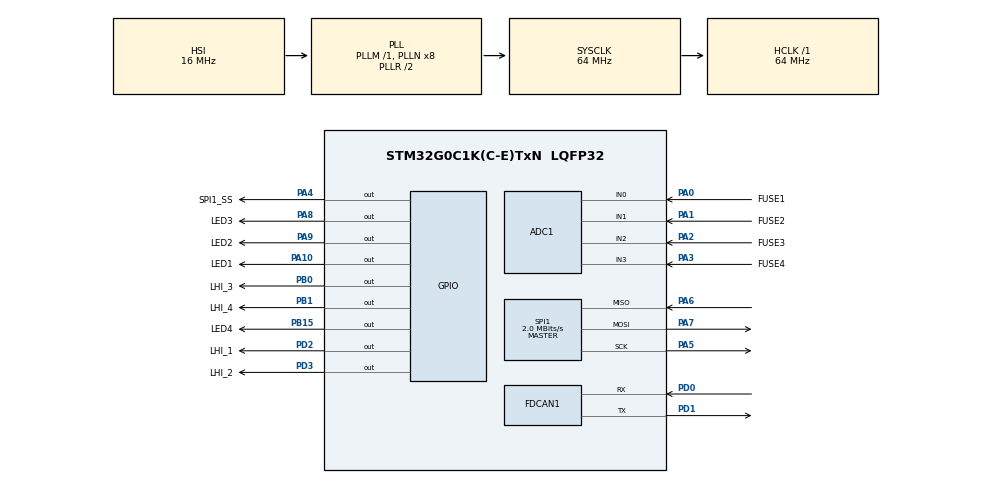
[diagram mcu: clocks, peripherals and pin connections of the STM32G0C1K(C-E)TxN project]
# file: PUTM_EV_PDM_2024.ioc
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ADC1.Channel-0\#ChannelRegularConversion=ADC_CHANNEL_0
ADC1.Channel-1\#ChannelRegularConversion=ADC_CHANNEL_1
ADC1.Channel-2\#ChannelRegularConversion=ADC_CHANNEL_2
ADC1.Channel-3\#ChannelRegularConversion=ADC_CHANNEL_3
ADC1.ClockPrescaler=ADC_CLOCK_ASYNC_DIV8
ADC1.ContinuousConvMode=ENABLE
ADC1.DMAContinuousRequests=ENABLE
ADC1.NbrOfConversion=4
ADC1.NbrOfConversionFlag=1
ADC1.Rank-0\#ChannelRegularConversion=1
ADC1.Rank-1\#ChannelRegularConversion=2
ADC1.Rank-2\#ChannelRegularConversion=3
ADC1.Rank-3\#ChannelRegularConversion=4
ADC1.SamplingTime-0\#ChannelRegularConversion=ADC_SAMPLINGTIME_COMMON_1
ADC1.SamplingTime-1\#ChannelRegularConversion=ADC_SAMPLINGTIME_COMMON_1
ADC1.SamplingTime-2\#ChannelRegularConversion=ADC_SAMPLINGTIME_COMMON_1
ADC1.SamplingTime-3\#ChannelRegularConversion=ADC_SAMPLINGTIME_COMMON_1
ADC1.SamplingTimeCommon1=ADC_SAMPLETIME_79CYCLES_5
ADC1.SamplingTimeCommon2=ADC_SAMPLETIME_19CYCLES_5
ADC1.SelectedChannel=ADC_CHANNEL_0|ADC_CHANNEL_1|ADC_CHANNEL_2|ADC_CHANNEL_3
ADC1.master=1
Dma.ADC1.0.Direction=DMA_PERIPH_TO_MEMORY
Dma.ADC1.0.EventEnable=DISABLE
Dma.ADC1.0.Instance=DMA1_Channel1
Dma.ADC1.0.MemDataAlignment=DMA_MDATAALIGN_HALFWORD
Dma.ADC1.0.MemInc=DMA_MINC_ENABLE
Dma.ADC1.0.Mode=DMA_CIRCULAR
Dma.ADC1.0.PeriphDataAlignment=DMA_PDATAALIGN_HALFWORD
Dma.ADC1.0.PeriphInc=DMA_PINC_DISABLE
Dma.ADC1.0.Polarity=HAL_DMAMUX_REQ_GEN_RISING
Dma.ADC1.0.Priority=DMA_PRIORITY_LOW
Dma.ADC1.0.RequestNumber=1
Dma.ADC1.0.SignalID=NONE
Dma.ADC1.0.SyncEnable=DISABLE
Dma.ADC1.0.SyncPolarity=HAL_DMAMUX_SYNC_NO_EVENT
Dma.ADC1.0.SyncRequestNumber=1
Dma.ADC1.0.SyncSignalID=NONE
Dma.Request0=ADC1
FDCAN1.CalculateBaudRateNominal=1142857
FDCAN1.CalculateTimeBitNominal=875
FDCAN1.CalculateTimeQuantumNominal=125.0
FDCAN1.NominalPrescaler=8
FDCAN1.NominalTimeSeg1=5
Mcu.Family=STM32G0
Mcu.Name=STM32G0C1K(C-E)TxN
Mcu.Package=LQFP32
NVIC.DMA1_Channel1_IRQn=true\:0\:0\:false\:false\:true\:false\:true\:true
NVIC.TIM16_FDCAN_IT0_IRQn=true\:0\:0\:false\:false\:true\:true\:true\:true
NVIC.TIM17_FDCAN_IT1_IRQn=true\:0\:0\:false\:false\:true\:true\:true\:true
NVIC.TIM1_BRK_UP_TRG_COM_IRQn=true\:3\:0\:false\:false\:true\:false\:true\:true
NVIC.TimeBase=TIM1_BRK_UP_TRG_COM_IRQn
NVIC.TimeBaseIP=TIM1
PA0.GPIO_Label=FUSE1
PA0.Mode=IN0
PA0.Signal=ADC1_IN0
PA1.GPIO_Label=FUSE2
PA1.Mode=IN1
PA1.Signal=ADC1_IN1
PA10.GPIO_Label=LED1
PA10.Signal=GPIO_Output
PA13.Mode=Serial_Wire
PA13.Signal=SYS_SWDIO
PA14-BOOT0.Mode=Serial_Wire
PA14-BOOT0.Signal=SYS_SWCLK
PA2.GPIO_Label=FUSE3
PA2.Mode=IN2
PA2.Signal=ADC1_IN2
PA3.GPIO_Label=FUSE4
PA3.Mode=IN3
PA3.Signal=ADC1_IN3
PA4.GPIO_Label=SPI1_SS
PA4.Signal=GPIO_Output
PA5.Mode=Full_Duplex_Master
PA5.Signal=SPI1_SCK
PA6.Mode=Full_Duplex_Master
PA6.Signal=SPI1_MISO
PA7.Mode=Full_Duplex_Master
PA7.Signal=SPI1_MOSI
PA8.GPIO_Label=LED3
PA8.Signal=GPIO_Output
PA9.GPIO_Label=LED2
PA9.Signal=GPIO_Output
PB0.GPIO_Label=LHI_3
PB0.Signal=GPIO_Output
PB1.GPIO_Label=LHI_4
PB1.Signal=GPIO_Output
PB15.GPIO_Label=LED4
PB15.Signal=GPIO_Output
PB6.Signal=USART1_TX
PB7.Signal=USART1_RX
PD0.GPIO_Speed=GPIO_SPEED_FREQ_VERY_HIGH
PD0.Mode=FDCAN_Activate
PD0.PinState=GPIO_PIN_RESET
PD0.Signal=FDCAN1_RX
PD1.GPIO_Speed=GPIO_SPEED_FREQ_VERY_HIGH
PD1.Mode=FDCAN_Activate
PD1.Signal=FDCAN1_TX
PD2.GPIO_Label=LHI_1
PD2.Signal=GPIO_Output
PD3.GPIO_Label=LHI_2
PD3.Signal=GPIO_Output
ProjectManager.HeapSize=0x200
ProjectManager.StackSize=0x400
ProjectManager.TargetToolchain=STM32CubeIDE
RCC.ADCFreq_Value=64000000
RCC.AHBFreq_Value=64000000
RCC.CortexFreq_Value=64000000
RCC.EXTERNAL_CLOCK_VALUE=48000
RCC.HCLKFreq_Value=64000000
RCC.HSE_VALUE=8000000
RCC.HSI48_VALUE=48000000
RCC.HSI_VALUE=16000000
RCC.LSE_VALUE=32768
RCC.SYSCLKFreq_VALUE=64000000
RCC.SYSCLKSource=RCC_SYSCLKSOURCE_PLLCLK
RCC.USBFreq_Value=48000000
RCC.VCOOutputFreq_Value=128000000
SPI1.BaudRatePrescaler=SPI_BAUDRATEPRESCALER_32
SPI1.CLKPhase=SPI_PHASE_2EDGE
SPI1.CalculateBaudRate=2.0 MBits/s
SPI1.Direction=SPI_DIRECTION_2LINES
SPI1.Mode=SPI_MODE_MASTER
SPI1.VirtualType=VM_MASTER
VP_SYS_VS_DBSignals.Mode=DisableDeadBatterySignals
VP_SYS_VS_tim1.Mode=TIM1
board=custom

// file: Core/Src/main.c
/* USER CODE BEGIN Header */
/**
  ******************************************************************************
  * @file           : main.c
  * @brief          : Main program body
  ******************************************************************************
  * @attention
  *
  * Copyright (c) 2024 STMicroelectronics.
  * All rights reserved.
  *
  * This software is licensed under terms that can be found in the LICENSE file
  * in the root directory of this software component.
  * If no LICENSE file comes with this software, it is provided AS-IS.
  *
  ******************************************************************************
  */

//*
//fuse4
//fuse3
//fuse2
//fuse1

/* USER CODE END Header */
#include "main.h"
#include "adc.h"
#include "dma.h"
#include "fdcan.h"
#include "spi.h"
#include "gpio.h"

/* USER CODE BEGIN Includes */
#include <stdbool.h>

/*
 * LED DEBUGGING SYSTEM FOR 4 BTS72220 CONTROLLERS (16 CHANNELS)
 *
 * NORMAL OPERATION:
 * - All LEDs blink at 1 Hz → System OK
 *
 * SINGLE CHANNEL FAILURE (1 ERROR ON A CONTROLLER):
 * - The LED of the faulty controller blinks in a specific pattern:
 *   - 1 blink → Channel 0 failure
 *   - 2 blinks → Channel 1 failure
 *   - 3 blinks → Channel 2 failure
 *   - 4 blinks → Channel 3 failure
 * - This pattern repeats continuously with a short pause.
 *
 * MULTIPLE CHANNEL FAILURES ON ONE CONTROLLER:
 * - The corresponding LED blinks rapidly at 5 Hz.
 *
 * MULTIPLE CONTROLLERS FAILING:
 * - Each affected controller's LED blinks rapidly at 5 Hz.
 *
 * CRITICAL FAILURE (ALL CONTROLLERS FAILING):
 * - All 4 LEDs stay solid ON.
 *
 * SYSTEM IN STANDBY/RESET:
 * - All LEDs stay OFF.
 *
 * HOW TO INTERPRET THE LEDS:
 * - Example: If LED2 blinks 3 times, pauses, then repeats → Controller 2, Channel 2 failure.
 * - Example: If LED4 blinks fast (5 Hz) → Controller 4 has multiple channel failures.
 * - Example: If all LEDs are ON → System critical failure.
 */

/* USER CODE END Includes */

/* USER CODE BEGIN PD */
#define ADC_BUF_SIZE 4
#define __VREFANALOG_VOLTAGE__ 3300
#define OUT_READY 0x8F // 1000 1111		switching to ready mode
#define OUT_READY1 0x9F // 1001 1111
#define OUT_CLOSE 0x80 // 1000 0000
#define DCR_ACTIVE 0xF5 // 1111 0101	switching to active mode
#define DCR_SLEEP 0xFF // 1111 1111
#define DCR_CHANNEL0 0xF8 // 1111 1000
#define DCR_CHANNEL1 0xF9 // 1111 1001
#define DCR_CHANNEL2 0xFA // 1111 1010
#define DCR_CHANNEL3 0xFB // 1111 1011
// Diagnosis Registers - Read Commands
#define WRNDIAG 0x01// 0000 0001
#define STDDIAG 0x02// 0000 0010
#define ERRDIAG 0x03// 0000 0011
// Configuration Registers - Read Commands
#define OUT_READ 0x00 // 0000 0000
#define RCS_READ 0x08 // 0000 1000
#define SRC_READ 0x09 // 0000 1001
#define OCR_READ 0x04 // 0000 0100
#define RCD_READ 0x0A // 0000 1100
#define KRC_READ 0x05 // 0000 0101
#define PCS_READ 0x0B // 0000 1101
#define HWCR_READ 0x05 // 0000 0110
#define ICS_READ 0x0B // 0000 1110
#define DCR_READ 0x07 // 0000 0111
//Led initialization
#define LED1_GPIO_Port GPIOA
#define LED1_Pin GPIO_PIN_10
#define LED2_GPIO_Port GPIOA
#define LED2_Pin GPIO_PIN_9
#define LED3_GPIO_Port GPIOA
#define LED3_Pin GPIO_PIN_8
#define LED4_GPIO_Port GPIOB
#define LED4_Pin GPIO_PIN_15

#define MAX_RETRIES 2

#define CLOSE_CHANNEL_0 0x8E//1000 1110
#define CLOSE_CHANNEL_1 0x8D//1000 1101
#define CLOSE_CHANNEL_2 0x8B//1000 1011
#define CLOSE_CHANNEL_3 0x87//1000 0111

/* USER CODE END PD */

/* USER CODE BEGIN PV */

uint16_t adc_buffer[ADC_BUF_SIZE];
uint8_t adc_ready = 0;

uint8_t tx_buffer[5];
uint8_t rx_buffer[5];

uint8_t after_first_loop = 0;
/*
uint32_t fuse1_is_channel0=0;
uint32_t fuse2_is_channel0;
uint32_t fuse3_is_channel0;
uint32_t fuse4_is_channel0;

uint32_t fuse1_is_channel1;
uint32_t fuse2_is_channel1;
uint32_t fuse3_is_channel1;
uint32_t fuse4_is_channel1;

uint32_t fuse1_is_channel2;
uint32_t fuse2_is_channel2;
uint32_t fuse3_is_channel2;
uint32_t fuse4_is_channel2;

uint32_t fuse1_is_channel3;
uint32_t fuse2_is_channel3;
uint32_t fuse3_is_channel3;
uint32_t fuse4_is_channel3;
*/
#define IC_COUNT 4
#define CHANNEL_COUNT 4

uint32_t fuse_currents[IC_COUNT][CHANNEL_COUNT]; // fuse_currents[ic][channel]

uint8_t channel_states[IC_COUNT] = {0x0F, 0x0F, 0x0F, 0x0F}; // All channels ON
bool any_channel_closed = false;
uint32_t last_shutdown_time = 0;

uint32_t thresholds[IC_COUNT][CHANNEL_COUNT] = {
    {200, 200, 300, 500},  // IC0 thresholds
    {200, 200, 300, 500},  // IC1
    {200, 200, 300, 500},  // IC2
    {200, 200, 300, 500}   // IC3
};
/* USER CODE END PV */

void SystemClock_Config(void);

/* USER CODE BEGIN 0 */

/*
void activate_channel(uint8_t ic_index, uint8_t channel_cmd)
{
    for (int i = 0; i < 5; i++) tx_buffer_local[i] = DCR_ACTIVE;
    if (ic_index < 5) tx_buffer_local[ic_index] = channel_cmd;

    HAL_GPIO_WritePin(SPI1_SS_GPIO_Port, SPI1_SS_Pin, GPIO_PIN_RESET);
    HAL_SPI_TransmitReceive(&hspi1, tx_buffer_local, rx_buffer, 5, 100);
    HAL_GPIO_WritePin(SPI1_SS_GPIO_Port, SPI1_SS_Pin, GPIO_PIN_SET);

    // Activate outputs
    for (int i = 0; i < 5; i++) tx_buffer_local[i] = DCR_ACTIVE;
    HAL_GPIO_WritePin(SPI1_SS_GPIO_Port, SPI1_SS_Pin, GPIO_PIN_RESET);
    HAL_SPI_TransmitReceive(&hspi1, tx_buffer_local, rx_buffer, 5, 100);
    HAL_GPIO_WritePin(SPI1_SS_GPIO_Port, SPI1_SS_Pin, GPIO_PIN_SET);
}
*/
int get_tx_index(uint8_t ic_index)
{
    return 1 + ic_index;
}

void handle_overcurrent(uint8_t ic_index, uint8_t channel_number, uint32_t threshold)
{
    if (fuse_currents[ic_index][channel_number] > threshold && after_first_loop)
    {
    	 int tx_index = get_tx_index(ic_index);

    	        //Mark channel OFF in state
    	        channel_states[ic_index] &= ~(1 << channel_number);
    	        //track the time since the first channel is closed
    	        any_channel_closed = true;
    	        last_shutdown_time = HAL_GetTick();
    	        //Build OUT register byte from updated state
    	        for (int i = 0; i < 5; i++) tx_buffer[i] = DCR_ACTIVE;
    	        tx_buffer[tx_index] = 0x80 | (channel_states[ic_index] & 0x0F); // OUT command

    	        HAL_GPIO_WritePin(SPI1_SS_GPIO_Port, SPI1_SS_Pin, GPIO_PIN_RESET);
    	        HAL_SPI_TransmitReceive(&hspi1, tx_buffer, rx_buffer, 5, 100);
    	        HAL_GPIO_WritePin(SPI1_SS_GPIO_Port, SPI1_SS_Pin, GPIO_PIN_SET);

/*
        // Step 2: recheck current (read correct ADC index)
        uint8_t adc_index = 3 - ic_index;
        fuse_currents[ic_index][channel_number] = __HAL_ADC_CALC_DATA_TO_VOLTAGE(
            __VREFANALOG_VOLTAGE__, adc_buffer[adc_index], ADC_RESOLUTION12b);

        if (fuse_currents[ic_index][channel_number] <= threshold)
        {
            for (int i = 0; i < 5; i++) tx_buffer[i] = OUT_READY;
            HAL_GPIO_WritePin(SPI1_SS_GPIO_Port, SPI1_SS_Pin, GPIO_PIN_RESET);
            HAL_SPI_TransmitReceive(&hspi1, tx_buffer, rx_buffer, 5, 100);
            HAL_GPIO_WritePin(SPI1_SS_GPIO_Port, SPI1_SS_Pin, GPIO_PIN_SET);
           // HAL_Delay(100);

            for (int i = 0; i < 5; i++) tx_buffer[i] = DCR_ACTIVE;
            HAL_GPIO_WritePin(SPI1_SS_GPIO_Port, SPI1_SS_Pin, GPIO_PIN_RESET);
            HAL_SPI_TransmitReceive(&hspi1, tx_buffer, rx_buffer, 5, 100);
            HAL_GPIO_WritePin(SPI1_SS_GPIO_Port, SPI1_SS_Pin, GPIO_PIN_SET);
        }
        */
    }
}

/* USER CODE END 0 */

int main(void)
{

  /* MCU Configuration--------------------------------------------------------*/

  /* Reset of all peripherals, Initializes the Flash interface and the Systick. */
	  HAL_Init();

  /* Configure the system clock */
  SystemClock_Config();

  /* Initialize all configured peripherals */
  MX_GPIO_Init();
  MX_DMA_Init();
  MX_ADC1_Init();
  MX_FDCAN1_Init();
  MX_SPI1_Init();
  /* USER CODE BEGIN 2 */
  HAL_GPIO_WritePin(GPIOD, GPIO_PIN_2, GPIO_PIN_RESET);
  HAL_GPIO_WritePin(GPIOD, GPIO_PIN_3, GPIO_PIN_RESET);
  HAL_GPIO_WritePin(GPIOB, GPIO_PIN_0, GPIO_PIN_RESET);
  HAL_GPIO_WritePin(GPIOB, GPIO_PIN_1, GPIO_PIN_RESET);
  //sleep -> ready
  tx_buffer[0] = OUT_READY;
  tx_buffer[1] = OUT_READY;
  tx_buffer[2] = OUT_READY;
  tx_buffer[3] = OUT_READY;
  tx_buffer[4] = OUT_READY;
  HAL_GPIO_WritePin(SPI1_SS_GPIO_Port, SPI1_SS_Pin, GPIO_PIN_RESET);
  HAL_SPI_TransmitReceive(&hspi1, tx_buffer, rx_buffer, 5, 100);
  HAL_GPIO_WritePin(SPI1_SS_GPIO_Port, SPI1_SS_Pin, GPIO_PIN_SET);
  //ready -> active
  tx_buffer[0] = DCR_ACTIVE;
  tx_buffer[1] = DCR_ACTIVE; 	//fuse 4
  tx_buffer[2] = DCR_ACTIVE;		//fuse 3
  tx_buffer[3] = DCR_ACTIVE;		//fuse 2
  tx_buffer[4] = DCR_ACTIVE;		//fuse 1
  HAL_GPIO_WritePin(SPI1_SS_GPIO_Port, SPI1_SS_Pin, GPIO_PIN_RESET);
  HAL_SPI_TransmitReceive(&hspi1, tx_buffer, rx_buffer, 5, 100);
  HAL_GPIO_WritePin(SPI1_SS_GPIO_Port, SPI1_SS_Pin, GPIO_PIN_SET);

  HAL_ADC_Start_DMA(&hadc1, adc_buffer, ADC_BUF_SIZE);

  HAL_Delay(1000);

  /* USER CODE END 2 */

  /* Infinite loop */
  /* USER CODE BEGIN WHILE */
  while (1)
  {

	  // OPTIONAL: Read diagnostic registers to check for critical errors
	  uint8_t tx_buffer_diag[4] = {ERRDIAG, 0, 0, 0};
	  uint8_t rx_buffer_diag[4];

	  HAL_GPIO_WritePin(SPI1_SS_GPIO_Port, SPI1_SS_Pin, GPIO_PIN_RESET);
	  HAL_SPI_TransmitReceive(&hspi1, tx_buffer_diag, rx_buffer_diag, 4, 100);
	  HAL_GPIO_WritePin(SPI1_SS_GPIO_Port, SPI1_SS_Pin, GPIO_PIN_SET);

	  // If all controllers report a major failure, turn all LEDs ON permanently
	  if ((rx_buffer_diag[1] & 0xFF) == 0xFF &&
	      (rx_buffer_diag[2] & 0xFF) == 0xFF &&
	      (rx_buffer_diag[3] & 0xFF) == 0xFF &&
	      (rx_buffer_diag[4] & 0xFF) == 0xFF)
	  {
	      HAL_GPIO_WritePin(LED1_GPIO_Port, LED1_Pin, GPIO_PIN_SET);
	      HAL_GPIO_WritePin(LED2_GPIO_Port, LED2_Pin, GPIO_PIN_SET);
	      HAL_GPIO_WritePin(LED3_GPIO_Port, LED3_Pin, GPIO_PIN_SET);
	      HAL_GPIO_WritePin(LED4_GPIO_Port, LED4_Pin, GPIO_PIN_SET);

	      while (1);  // Stop execution if all controllers fail
	  }

	  // If no failure, continue blinking
	  HAL_GPIO_TogglePin(LED1_GPIO_Port, LED1_Pin);
	  HAL_GPIO_TogglePin(LED2_GPIO_Port, LED2_Pin);
	  HAL_GPIO_TogglePin(LED3_GPIO_Port, LED3_Pin);
	  HAL_GPIO_TogglePin(LED4_GPIO_Port, LED4_Pin);

//current sense mode activation
	  // set channel 0 - 7A // value fuse = 217,4*current + 93
	  tx_buffer[0] = DCR_CHANNEL0;
	  tx_buffer[1] = DCR_CHANNEL0; //closes fuse4
	  tx_buffer[2] = DCR_CHANNEL0;
	  tx_buffer[3] = DCR_CHANNEL0;
	  tx_buffer[4] = DCR_CHANNEL0;
	  HAL_GPIO_WritePin(SPI1_SS_GPIO_Port, SPI1_SS_Pin, GPIO_PIN_RESET);
	  HAL_SPI_TransmitReceive(&hspi1, tx_buffer, rx_buffer, 5, 100);
	  HAL_GPIO_WritePin(SPI1_SS_GPIO_Port, SPI1_SS_Pin, GPIO_PIN_SET);
	  HAL_GPIO_WritePin(SPI1_SS_GPIO_Port, SPI1_SS_Pin, GPIO_PIN_RESET);
	  HAL_SPI_TransmitReceive(&hspi1, tx_buffer, rx_buffer, 5, 100);
	  HAL_GPIO_WritePin(SPI1_SS_GPIO_Port, SPI1_SS_Pin, GPIO_PIN_SET);
	  // check current on channel 0 - 7A
	  fuse_currents[0][0] = __HAL_ADC_CALC_DATA_TO_VOLTAGE(__VREFANALOG_VOLTAGE__, adc_buffer[3], ADC_RESOLUTION12b); // IC0 - CH0
	  fuse_currents[1][0] = __HAL_ADC_CALC_DATA_TO_VOLTAGE(__VREFANALOG_VOLTAGE__, adc_buffer[2], ADC_RESOLUTION12b); // IC1 - CH0
	  fuse_currents[2][0] = __HAL_ADC_CALC_DATA_TO_VOLTAGE(__VREFANALOG_VOLTAGE__, adc_buffer[1], ADC_RESOLUTION12b); // IC2 - CH0
	  fuse_currents[3][0] = __HAL_ADC_CALC_DATA_TO_VOLTAGE(__VREFANALOG_VOLTAGE__, adc_buffer[0], ADC_RESOLUTION12b); // IC3 - CH0
	  // ...repeat for CH1-CH3

	  // set channel 1 - 4A // value fuse = 217,4*current + 93
	  tx_buffer[0] = DCR_CHANNEL1;
	  tx_buffer[1] = DCR_CHANNEL1;
	  tx_buffer[2] = DCR_CHANNEL1;
	  tx_buffer[3] = DCR_CHANNEL1;
	  tx_buffer[4] = DCR_CHANNEL1;
	  HAL_GPIO_WritePin(SPI1_SS_GPIO_Port, SPI1_SS_Pin, GPIO_PIN_RESET);
	  HAL_SPI_TransmitReceive(&hspi1, tx_buffer, rx_buffer, 5, 100);
	  HAL_GPIO_WritePin(SPI1_SS_GPIO_Port, SPI1_SS_Pin, GPIO_PIN_SET);
	  HAL_GPIO_WritePin(SPI1_SS_GPIO_Port, SPI1_SS_Pin, GPIO_PIN_RESET);
	  HAL_SPI_TransmitReceive(&hspi1, tx_buffer, rx_buffer, 5, 100);
	  HAL_GPIO_WritePin(SPI1_SS_GPIO_Port, SPI1_SS_Pin, GPIO_PIN_SET);
	  // check current on channel 1 - 4A
	  fuse_currents[0][1] = __HAL_ADC_CALC_DATA_TO_VOLTAGE(__VREFANALOG_VOLTAGE__, adc_buffer[3], ADC_RESOLUTION12b); // IC0
	  fuse_currents[1][1] = __HAL_ADC_CALC_DATA_TO_VOLTAGE(__VREFANALOG_VOLTAGE__, adc_buffer[2], ADC_RESOLUTION12b); // IC1
	  fuse_currents[2][1] = __HAL_ADC_CALC_DATA_TO_VOLTAGE(__VREFANALOG_VOLTAGE__, adc_buffer[1], ADC_RESOLUTION12b); // IC2
	  fuse_currents[3][1] = __HAL_ADC_CALC_DATA_TO_VOLTAGE(__VREFANALOG_VOLTAGE__, adc_buffer[0], ADC_RESOLUTION12b); // IC3

	  // set channel 2 - 4A // value fuse = 217,4*current + 93
	  tx_buffer[0] = DCR_CHANNEL2;
	  tx_buffer[1] = DCR_CHANNEL2;
	  tx_buffer[2] = DCR_CHANNEL2;
	  tx_buffer[3] = DCR_CHANNEL2;
	  tx_buffer[4] = DCR_CHANNEL2;
	  HAL_GPIO_WritePin(SPI1_SS_GPIO_Port, SPI1_SS_Pin, GPIO_PIN_RESET);
	  HAL_SPI_TransmitReceive(&hspi1, tx_buffer, rx_buffer, 5, 100);
	  HAL_GPIO_WritePin(SPI1_SS_GPIO_Port, SPI1_SS_Pin, GPIO_PIN_SET);
	  HAL_GPIO_WritePin(SPI1_SS_GPIO_Port, SPI1_SS_Pin, GPIO_PIN_RESET);
	  HAL_SPI_TransmitReceive(&hspi1, tx_buffer, rx_buffer, 5, 100);
	  HAL_GPIO_WritePin(SPI1_SS_GPIO_Port, SPI1_SS_Pin, GPIO_PIN_SET);
	  // check current on channel 2 - 4A
	  fuse_currents[0][2] = __HAL_ADC_CALC_DATA_TO_VOLTAGE(__VREFANALOG_VOLTAGE__, adc_buffer[3], ADC_RESOLUTION12b); // IC0
	  fuse_currents[1][2] = __HAL_ADC_CALC_DATA_TO_VOLTAGE(__VREFANALOG_VOLTAGE__, adc_buffer[2], ADC_RESOLUTION12b); // IC1
	  fuse_currents[2][2] = __HAL_ADC_CALC_DATA_TO_VOLTAGE(__VREFANALOG_VOLTAGE__, adc_buffer[1], ADC_RESOLUTION12b); // IC2
	  fuse_currents[3][2] = __HAL_ADC_CALC_DATA_TO_VOLTAGE(__VREFANALOG_VOLTAGE__, adc_buffer[0], ADC_RESOLUTION12b); // IC3

	  // set channel 3 - 7A // value fuse = 217,4*current + 93
	  tx_buffer[0] = DCR_CHANNEL3;
	  tx_buffer[1] = DCR_CHANNEL3;
	  tx_buffer[2] = DCR_CHANNEL3;
	  tx_buffer[3] = DCR_CHANNEL3;
	  tx_buffer[4] = DCR_CHANNEL3;
	  HAL_GPIO_WritePin(SPI1_SS_GPIO_Port, SPI1_SS_Pin, GPIO_PIN_RESET);
	  HAL_SPI_TransmitReceive(&hspi1, tx_buffer, rx_buffer, 5, 100);
	  HAL_GPIO_WritePin(SPI1_SS_GPIO_Port, SPI1_SS_Pin, GPIO_PIN_SET);
	  HAL_GPIO_WritePin(SPI1_SS_GPIO_Port, SPI1_SS_Pin, GPIO_PIN_RESET);
	  HAL_SPI_TransmitReceive(&hspi1, tx_buffer, rx_buffer, 5, 100);
	  HAL_GPIO_WritePin(SPI1_SS_GPIO_Port, SPI1_SS_Pin, GPIO_PIN_SET);
	  // check current on channel 3 - 7A // value fuse = 217,4*current + 93
	  fuse_currents[0][3] = __HAL_ADC_CALC_DATA_TO_VOLTAGE(__VREFANALOG_VOLTAGE__, adc_buffer[3], ADC_RESOLUTION12b); // IC0
	  fuse_currents[1][3] = __HAL_ADC_CALC_DATA_TO_VOLTAGE(__VREFANALOG_VOLTAGE__, adc_buffer[2], ADC_RESOLUTION12b); // IC1
	  fuse_currents[2][3] = __HAL_ADC_CALC_DATA_TO_VOLTAGE(__VREFANALOG_VOLTAGE__, adc_buffer[1], ADC_RESOLUTION12b); // IC2
	  fuse_currents[3][3] = __HAL_ADC_CALC_DATA_TO_VOLTAGE(__VREFANALOG_VOLTAGE__, adc_buffer[0], ADC_RESOLUTION12b); // IC3
	  //activating each channel individually by calling a function

	  HAL_Delay(100);

	  tx_buffer[0] = OUT_READ;
	  tx_buffer[1] = OUT_READ;
	  tx_buffer[2] = OUT_READ;
	  tx_buffer[3] = OUT_READ;
	  tx_buffer[4] = OUT_READ;
	  HAL_GPIO_WritePin(SPI1_SS_GPIO_Port, SPI1_SS_Pin, GPIO_PIN_RESET);
	  HAL_SPI_TransmitReceive(&hspi1, tx_buffer, rx_buffer, 5, 100);
	  HAL_GPIO_WritePin(SPI1_SS_GPIO_Port, SPI1_SS_Pin, GPIO_PIN_SET);
	  HAL_GPIO_WritePin(SPI1_SS_GPIO_Port, SPI1_SS_Pin, GPIO_PIN_RESET);
	  HAL_SPI_TransmitReceive(&hspi1, tx_buffer, rx_buffer, 5, 100);
	  HAL_GPIO_WritePin(SPI1_SS_GPIO_Port, SPI1_SS_Pin, GPIO_PIN_SET);

	/*  // CH0 (3A), CH1 (3A), CH2 (4A), CH3 (7A)
	  handle_overcurrent(0, 0, 200); // IC0
	  handle_overcurrent(0, 1, 200);
	  handle_overcurrent(0, 2, 300);
	  handle_overcurrent(0, 3, 500);

	  handle_overcurrent(1, 0, 200); // IC1
	  handle_overcurrent(1, 1, 200);
	  handle_overcurrent(1, 2, 300);
	  handle_overcurrent(1, 3, 500);

	  handle_overcurrent(2, 0, 200); // IC2
	  handle_overcurrent(2, 1, 200);
	  handle_overcurrent(2, 2, 300);
	  handle_overcurrent(2, 3, 500);

	  handle_overcurrent(3, 0, 200); // IC3
	  handle_overcurrent(3, 1, 200);
	  handle_overcurrent(3, 2, 300);
	  handle_overcurrent(3, 3, 500);
*/
	  for (uint8_t ic = 0; ic < IC_COUNT; ic++) {
	      for (uint8_t ch = 0; ch < CHANNEL_COUNT; ch++) {
	          handle_overcurrent(ic, ch, thresholds[ic][ch]);
	      }
	  }

	  if (any_channel_closed && (HAL_GetTick() - last_shutdown_time >= 5000))
	  {
	      any_channel_closed = false; // reset the flag

	      for (uint8_t ic = 0; ic < IC_COUNT; ic++)
	      {
	          uint8_t adc_index = 3 - ic;
	          for (uint8_t ch = 0; ch < CHANNEL_COUNT; ch++)
	          {
	              fuse_currents[ic][ch] = __HAL_ADC_CALC_DATA_TO_VOLTAGE(
	                  __VREFANALOG_VOLTAGE__, adc_buffer[adc_index], ADC_RESOLUTION12b);

	              if (fuse_currents[ic][ch] <= thresholds[ic][ch])
	              {
	                  channel_states[ic] |= (1 << ch); // enable channel
	              }
	          }

	          // Send updated state
	          uint8_t tx_index = get_tx_index(ic);
	          for (int i = 0; i < 5; i++) tx_buffer[i] = DCR_ACTIVE;
	          tx_buffer[tx_index] = 0x80 | (channel_states[ic] & 0x0F);

	          HAL_GPIO_WritePin(SPI1_SS_GPIO_Port, SPI1_SS_Pin, GPIO_PIN_RESET);
	          HAL_SPI_TransmitReceive(&hspi1, tx_buffer, rx_buffer, 5, 100);
	          HAL_GPIO_WritePin(SPI1_SS_GPIO_Port, SPI1_SS_Pin, GPIO_PIN_SET);
	      }
	  }

/*

	  // value fuse = 217,4*current + 93
	  //5A
	  if (fuse1_is_channel0 > 200 || fuse2_is_channel0 > 200 || fuse3_is_channel0 > 200|| fuse2_is_channel2 > 700 ||
		  fuse1_is_channel3 > 200 || fuse2_is_channel3 > 200 || fuse3_is_channel3 > 200|| fuse4_is_channel3 > 200  && after_first_loop)
	  {

		  tx_buffer[0] = OUT_CLOSE;
		  tx_buffer[1] = OUT_CLOSE;
		  tx_buffer[2] = OUT_CLOSE;
		  tx_buffer[3] = OUT_CLOSE;
		  tx_buffer[4] = OUT_CLOSE;
		  HAL_GPIO_WritePin(SPI1_SS_GPIO_Port, SPI1_SS_Pin, GPIO_PIN_RESET);
		  HAL_SPI_TransmitReceive(&hspi1, tx_buffer, rx_buffer, 5, 100);
		  HAL_GPIO_WritePin(SPI1_SS_GPIO_Port, SPI1_SS_Pin, GPIO_PIN_SET);
		  HAL_Delay(5000);

	  }
	  // value fuse = 217,4*current + 93
	  //4A
	  if (fuse1_is_channel1 > 200 || fuse2_is_channel1 > 200 || fuse3_is_channel1 > 200|| fuse4_is_channel1 > 200 ||
		  fuse1_is_channel2 > 200  || fuse3_is_channel2 > 200|| fuse4_is_channel2 > 200  && after_first_loop)
	  {

		  tx_buffer[0] = OUT_CLOSE;
		  tx_buffer[1] = OUT_CLOSE;
		  tx_buffer[2] = OUT_CLOSE;
		  tx_buffer[3] = OUT_CLOSE;
		  tx_buffer[4] = OUT_CLOSE;
		  HAL_GPIO_WritePin(SPI1_SS_GPIO_Port, SPI1_SS_Pin, GPIO_PIN_RESET);
		  HAL_SPI_TransmitReceive(&hspi1, tx_buffer, rx_buffer, 5, 100);
		  HAL_GPIO_WritePin(SPI1_SS_GPIO_Port, SPI1_SS_Pin, GPIO_PIN_SET);
		  HAL_Delay(5000);

	  }
	  // value fuse = 217,4*current + 93
	  //3A
	  if(fuse4_is_channel0 > 200 && after_first_loop)
	  {
		  tx_buffer[0] = DCR_ACTIVE;
		  tx_buffer[1] = CLOSE_CHANNEL_0;
		  tx_buffer[2] = DCR_ACTIVE;
		  tx_buffer[3] = DCR_ACTIVE;
		  tx_buffer[4] = DCR_ACTIVE;
		  HAL_GPIO_WritePin(SPI1_SS_GPIO_Port, SPI1_SS_Pin, GPIO_PIN_RESET);
		  HAL_SPI_TransmitReceive(&hspi1, tx_buffer, rx_buffer, 5, 100);
		  HAL_GPIO_WritePin(SPI1_SS_GPIO_Port, SPI1_SS_Pin, GPIO_PIN_SET);
		  HAL_Delay(5000);
		  fuse4_is_channel0 = __HAL_ADC_CALC_DATA_TO_VOLTAGE(__VREFANALOG_VOLTAGE__, adc_buffer[3], ADC_RESOLUTION12b);

		  // Jeśli przeciążenie już nie występuje — restart kanału
		  if (fuse4_is_channel0 <= 200)
		  {
		      // READY
		      tx_buffer[0] = OUT_READY;
		      tx_buffer[1] = OUT_READY;
		      tx_buffer[2] = OUT_READY;
		      tx_buffer[3] = OUT_READY;
		      tx_buffer[4] = OUT_READY;
		      HAL_GPIO_WritePin(SPI1_SS_GPIO_Port, SPI1_SS_Pin, GPIO_PIN_RESET);
		      HAL_SPI_TransmitReceive(&hspi1, tx_buffer, rx_buffer, 5, 100);
		      HAL_GPIO_WritePin(SPI1_SS_GPIO_Port, SPI1_SS_Pin, GPIO_PIN_SET);
		      HAL_Delay(100);

		      // ACTIVE
		      tx_buffer[0] = DCR_ACTIVE;
		      tx_buffer[1] = DCR_ACTIVE;
		      tx_buffer[2] = DCR_ACTIVE;
		      tx_buffer[3] = DCR_ACTIVE;
		      tx_buffer[4] = DCR_ACTIVE;
		      HAL_GPIO_WritePin(SPI1_SS_GPIO_Port, SPI1_SS_Pin, GPIO_PIN_RESET);
		      HAL_SPI_TransmitReceive(&hspi1, tx_buffer, rx_buffer, 5, 100);
		      HAL_GPIO_WritePin(SPI1_SS_GPIO_Port, SPI1_SS_Pin, GPIO_PIN_SET);
		  }

	  }
*/
	 	  after_first_loop = 1;

    /* USER CODE END WHILE */

  }
}

void SystemClock_Config(void)
{
  RCC_OscInitTypeDef RCC_OscInitStruct = {0};
  RCC_ClkInitTypeDef RCC_ClkInitStruct = {0};

  /** Configure the main internal regulator output voltage
  */
  HAL_PWREx_ControlVoltageScaling(PWR_REGULATOR_VOLTAGE_SCALE1);

  /** Initializes the RCC Oscillators according to the specified parameters
  * in the RCC_OscInitTypeDef structure.
  */
  RCC_OscInitStruct.OscillatorType = RCC_OSCILLATORTYPE_HSI;
  RCC_OscInitStruct.HSIState = RCC_HSI_ON;
  RCC_OscInitStruct.HSIDiv = RCC_HSI_DIV1;
  RCC_OscInitStruct.HSICalibrationValue = RCC_HSICALIBRATION_DEFAULT;
  RCC_OscInitStruct.PLL.PLLState = RCC_PLL_ON;
  RCC_OscInitStruct.PLL.PLLSource = RCC_PLLSOURCE_HSI;
  RCC_OscInitStruct.PLL.PLLM = RCC_PLLM_DIV1;
  RCC_OscInitStruct.PLL.PLLN = 8;
  RCC_OscInitStruct.PLL.PLLP = RCC_PLLP_DIV2;
  RCC_OscInitStruct.PLL.PLLQ = RCC_PLLQ_DIV2;
  RCC_OscInitStruct.PLL.PLLR = RCC_PLLR_DIV2;
  if (HAL_RCC_OscConfig(&RCC_OscInitStruct) != HAL_OK)
  {
    Error_Handler();
  }

  /** Initializes the CPU, AHB and APB buses clocks
  */
  RCC_ClkInitStruct.ClockType = RCC_CLOCKTYPE_HCLK|RCC_CLOCKTYPE_SYSCLK
                              |RCC_CLOCKTYPE_PCLK1;
  RCC_ClkInitStruct.SYSCLKSource = RCC_SYSCLKSOURCE_PLLCLK;
  RCC_ClkInitStruct.AHBCLKDivider = RCC_SYSCLK_DIV1;
  RCC_ClkInitStruct.APB1CLKDivider = RCC_HCLK_DIV16;

  if (HAL_RCC_ClockConfig(&RCC_ClkInitStruct, FLASH_LATENCY_2) != HAL_OK)
  {
    Error_Handler();
  }
}

void HAL_TIM_PeriodElapsedCallback(TIM_HandleTypeDef *htim)
{
  if (htim->Instance == TIM1) {
    HAL_IncTick();
  }
}

void Error_Handler(void)
{
  __disable_irq();
  while (1)
  {
  }
}
